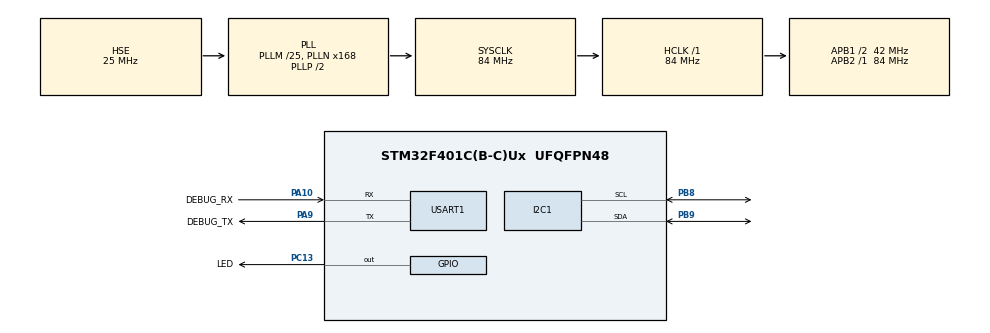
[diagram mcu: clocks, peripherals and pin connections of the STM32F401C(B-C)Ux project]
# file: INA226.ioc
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Mcu.Family=STM32F4
Mcu.Name=STM32F401C(B-C)Ux
Mcu.Package=UFQFPN48
NVIC.PriorityGroup=NVIC_PRIORITYGROUP_4
PA10.GPIO_Label=DEBUG_RX
PA10.Mode=Asynchronous
PA10.Signal=USART1_RX
PA13.Mode=Serial_Wire
PA13.Signal=SYS_JTMS-SWDIO
PA14.Mode=Serial_Wire
PA14.Signal=SYS_JTCK-SWCLK
PA9.GPIO_Label=DEBUG_TX
PA9.Mode=Asynchronous
PA9.Signal=USART1_TX
PB8.Mode=I2C
PB8.Signal=I2C1_SCL
PB9.Mode=I2C
PB9.Signal=I2C1_SDA
PC13-ANTI_TAMP.GPIO_Label=LED
PC13-ANTI_TAMP.Signal=GPIO_Output
PH0\ -\ OSC_IN.Mode=HSE-External-Oscillator
PH0\ -\ OSC_IN.Signal=RCC_OSC_IN
PH1\ -\ OSC_OUT.Mode=HSE-External-Oscillator
PH1\ -\ OSC_OUT.Signal=RCC_OSC_OUT
ProjectManager.HeapSize=0x200
ProjectManager.StackSize=0x400
ProjectManager.TargetToolchain=STM32CubeIDE
RCC.48MHZClocksFreq_Value=42000000
RCC.AHBFreq_Value=84000000
RCC.APB1CLKDivider=RCC_HCLK_DIV2
RCC.APB1Freq_Value=42000000
RCC.APB1TimFreq_Value=84000000
RCC.APB2Freq_Value=84000000
RCC.APB2TimFreq_Value=84000000
RCC.CortexFreq_Value=84000000
RCC.EnbaleCSS=true
RCC.HCLKFreq_Value=84000000
RCC.HSE_VALUE=25000000
RCC.HSI_VALUE=16000000
RCC.LSE_VALUE=32768
RCC.PLLM=25
RCC.PLLN=168
RCC.PLLSourceVirtual=RCC_PLLSOURCE_HSE
RCC.SYSCLKFreq_VALUE=84000000
RCC.SYSCLKSource=RCC_SYSCLKSOURCE_PLLCLK
RCC.VCOOutputFreq_Value=168000000
USART1.VirtualMode=VM_ASYNC
board=custom

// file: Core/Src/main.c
/* USER CODE BEGIN Header */
/**
  ******************************************************************************
  * @file           : main.c
  * @brief          : Main program body
  ******************************************************************************
  * @attention
  *
  * Copyright (c) 2025 STMicroelectronics.
  * All rights reserved.
  *
  * This software is licensed under terms that can be found in the LICENSE file
  * in the root directory of this software component.
  * If no LICENSE file comes with this software, it is provided AS-IS.
  *
  ******************************************************************************
  */
/* USER CODE END Header */
#include "main.h"

/* USER CODE BEGIN Includes */
//need for uart
#include <stdarg.h>
#include <string.h>
#include <stdio.h>

#include <stdbool.h>

/* USER CODE END Includes */

I2C_HandleTypeDef hi2c1;

UART_HandleTypeDef huart1;

/* USER CODE BEGIN PV */
// I²C address (7-bit) shifted for HAL
#ifndef INA226_I2C_ADDR
  #define INA226_I2C_ADDR      (0x40 << 1)
#endif
#define INA226_REG_CONF        0x00
#define INA226_REG_CALIB       0x05
#define INA226_REG_MASK_EN     0x06
#define INA226_REG_CURRENT     0x04
#define INA226_FLAG_CRDY       0x0400
#define INA226_SHUNT_OHM       0.00075f    // 0.75 mΩ
#define INA226_I_MAX           100.0f      // 100 A
#define INA226_CONF_DEFAULT    (0x0000 | 0x0100 | 0x0080 | 0x0007)
#define INA226_CURRENT_LSB     (INA226_I_MAX / 32768.0f)
#define INA226_CALIB_VALUE     ((uint16_t)(0.00512f / (INA226_CURRENT_LSB * INA226_SHUNT_OHM)))

#define UART1_BUFFER_SIZE 100
uint8_t uart1_rx_buffer[UART1_BUFFER_SIZE];
uint8_t uart1_rx_char;
uint16_t uart1_rx_index = 0;

/* USER CODE END PV */

void SystemClock_Config(void);
static void MX_GPIO_Init(void);
static void MX_I2C1_Init(void);
static void MX_USART1_UART_Init(void);
/* USER CODE BEGIN PFP */
void processUart1Command(char *command); // For USART1 commands
void debugFTDI(const char *fmt, ...);
bool INA226_Init(I2C_HandleTypeDef *hi2c);
bool INA226_ReadCurrent(I2C_HandleTypeDef *hi2c, float *outCurrent);
/* USER CODE END PFP */

/* USER CODE BEGIN 0 */
bool INA226_Init(I2C_HandleTypeDef *hi2c)
{
    uint8_t buf[3];

    // 1) Reset device (write 0x8000 to CONFIG)
    buf[0] = INA226_REG_CONF;
    buf[1] = 0x80;
    buf[2] = 0x00;
    if (HAL_I2C_Master_Transmit(hi2c, INA226_I2C_ADDR, buf, 3, HAL_MAX_DELAY) != HAL_OK)
        return false;
    HAL_Delay(1);

    // 2) Write default CONFIG (averaging, conversion times, continuous)
    buf[0] = INA226_REG_CONF;
    buf[1] = (uint8_t)(INA226_CONF_DEFAULT >> 8);
    buf[2] = (uint8_t)(INA226_CONF_DEFAULT & 0xFF);
    if (HAL_I2C_Master_Transmit(hi2c, INA226_I2C_ADDR, buf, 3, HAL_MAX_DELAY) != HAL_OK)
        return false;

    // 3) Write CALIBRATION register
    buf[0] = INA226_REG_CALIB;
    buf[1] = (uint8_t)(INA226_CALIB_VALUE >> 8);
    buf[2] = (uint8_t)(INA226_CALIB_VALUE & 0xFF);
    if (HAL_I2C_Master_Transmit(hi2c, INA226_I2C_ADDR, buf, 3, HAL_MAX_DELAY) != HAL_OK)
        return false;

    return true;
}

/**
 * @brief  Read current (in Amps) from INA226.
 * @param  hi2c        Your HAL I2C handle
 * @param  outCurrent  Pointer to float to receive the result
 * @return true on success, false on I²C error or timeout
 */
bool INA226_ReadCurrent(I2C_HandleTypeDef *hi2c, float *outCurrent)
{
    uint8_t buf[2];
    uint16_t raw;

    // wait >2 conversions (≈2.2 ms), use 3 ms
    HAL_Delay(3);

    // read CURRENT reg
    if (HAL_I2C_Mem_Read(hi2c, INA226_I2C_ADDR, INA226_REG_CURRENT,
                         I2C_MEMADD_SIZE_8BIT, buf, 2, HAL_MAX_DELAY) != HAL_OK) {
        debugFTDI("RD: I2C read error\r\n");
        return false;
    }
    raw = (buf[0] << 8) | buf[1];
    debugFTDI("RD: RAW_CURRENT = 0x%04X\r\n", raw);

    // convert to amps
    *outCurrent = (int16_t)raw * INA226_CURRENT_LSB;
    // print in mA as integer
    int32_t mA = (int32_t)(*outCurrent * 1000.0f);
    debugFTDI("RD: Current = %ld mA\r\n", mA);

    return true;
}
void debugFTDI(const char *fmt, ...) {
	char buf[450];
	va_list args;
	va_start(args, fmt);
	int len = vsnprintf(buf, sizeof(buf), fmt, args);
	va_end(args);

	if (len > 0) {
		// ensure we don’t overrun if vsnprintf truncated
		uint16_t txlen = (len < sizeof(buf)) ? len : (sizeof(buf) - 1);
		HAL_UART_Transmit(&huart1, (uint8_t*) buf, txlen, HAL_MAX_DELAY);
	}
}

/**
 * @brief Processes UART commands received on USART1.
 * @param command The command string to process.
 */
void processUart1Command(char *command) {
	debugFTDI("Received command: [%s]\r\n", command);
	// Remove any trailing \r or \n characters
	size_t len = strlen(command);
	while (len > 0 && (command[len - 1] == '\r' || command[len - 1] == '\n')) {
		command[--len] = '\0';
	}

	// Get the first token separated by "/"
	char *token = strtok(command, "/");
	while (token != NULL) {
		debugFTDI("Processing token: [%s]\r\n", token);
		// Find the colon separator position manually
		char *colonPos = strchr(token, ':');

		if (colonPos != NULL) {
			// Null-terminate the key part
			*colonPos = '\0';
			char *key = token;
			char *valueStr = colonPos + 1;  // Value starts after the colon

			// Debug key-value pair
			char debugPair[100];
			snprintf(debugPair, sizeof(debugPair), "Key: [%s], Value: [%s]\r\n",
					key, valueStr);
			HAL_UART_Transmit(&huart1, (uint8_t*) debugPair, strlen(debugPair),
			HAL_MAX_DELAY);

			if (strcmp(key, "WRITE_ENABLE_PWM") == 0) {
//				char msg[50];
//				snprintf(msg, sizeof(msg), "WRITE_ENABLE_PWM command: %s\r\n",
//						key);
//				HAL_UART_Transmit(&huart1, (uint8_t*) msg, strlen(msg),
//				HAL_MAX_DELAY);
//				enablePwmMain();
			}
			// Other command handlers follow the same pattern...
			else {
				// Unknown command
				char msg[50];
				snprintf(msg, sizeof(msg), "Unknown command: %s\r\n", key);
				HAL_UART_Transmit(&huart1, (uint8_t*) msg, strlen(msg),
				HAL_MAX_DELAY);
			}
		}

		// Get next token
		token = strtok(NULL, "/");
	}
}
/**
 * @brief UART Receive Complete Callback with improved buffering.
 * @param huart UART handle.
 */
void HAL_UART_RxCpltCallback(UART_HandleTypeDef *huart) {
	if (huart->Instance == USART1) {
		HAL_GPIO_TogglePin(LED_GPIO_Port, LED_Pin);

		// Check if the received character is a newline
		if (uart1_rx_char == '\n') {
			// Terminate the string properly
			if (uart1_rx_index > 0
					&& uart1_rx_buffer[uart1_rx_index - 1] == '\r') {
				uart1_rx_buffer[uart1_rx_index - 1] = '\0'; // Remove \r
			} else {
				uart1_rx_buffer[uart1_rx_index] = '\0'; // Just add null terminator
			}

			// Process the complete command
			processUart1Command((char*) uart1_rx_buffer);

			// Reset buffer index for next command
			uart1_rx_index = 0;
		}
		// Handle normal character storage (not newline or carriage return)
		else if (uart1_rx_char != '\r'
				&& uart1_rx_index < UART1_BUFFER_SIZE - 1) {
			uart1_rx_buffer[uart1_rx_index++] = uart1_rx_char;
		}

		// Always restart reception for next character
		HAL_UART_Receive_IT(&huart1, &uart1_rx_char, 1);
	}
}
/* USER CODE END 0 */

int main(void)
{

  /* MCU Configuration--------------------------------------------------------*/

  /* Reset of all peripherals, Initializes the Flash interface and the Systick. */
  HAL_Init();

  /* Configure the system clock */
  SystemClock_Config();

  /* Initialize all configured peripherals */
  MX_GPIO_Init();
  MX_I2C1_Init();
  MX_USART1_UART_Init();
  /* USER CODE BEGIN 2 */
  HAL_UART_Receive_IT(&huart1, &uart1_rx_char, 1);  // Start UART reception
  if (!INA226_Init(&hi2c1)) {
      debugFTDI("INA226 init FAILED!\r\n");
      while (1);
  }else{
      debugFTDI("INA226 OK!\r\n");
  }
  /* USER CODE END 2 */

  /* Infinite loop */
  /* USER CODE BEGIN WHILE */
  float current;

  while (1)
  {
	  HAL_GPIO_TogglePin(LED_GPIO_Port, LED_Pin);
	  float I;
	  if (INA226_ReadCurrent(&hi2c1, &I)) {
	      // already printed inside; or do:
	      debugFTDI("Main: I = %.3f A\r\n", I);
	  } else {
	      debugFTDI("Main: read error\r\n");
	  }
	  HAL_Delay(500);
    /* USER CODE END WHILE */

  }
}

void SystemClock_Config(void)
{
  RCC_OscInitTypeDef RCC_OscInitStruct = {0};
  RCC_ClkInitTypeDef RCC_ClkInitStruct = {0};

  /** Configure the main internal regulator output voltage
  */
  __HAL_RCC_PWR_CLK_ENABLE();
  __HAL_PWR_VOLTAGESCALING_CONFIG(PWR_REGULATOR_VOLTAGE_SCALE2);

  /** Initializes the RCC Oscillators according to the specified parameters
  * in the RCC_OscInitTypeDef structure.
  */
  RCC_OscInitStruct.OscillatorType = RCC_OSCILLATORTYPE_HSE;
  RCC_OscInitStruct.HSEState = RCC_HSE_ON;
  RCC_OscInitStruct.PLL.PLLState = RCC_PLL_ON;
  RCC_OscInitStruct.PLL.PLLSource = RCC_PLLSOURCE_HSE;
  RCC_OscInitStruct.PLL.PLLM = 25;
  RCC_OscInitStruct.PLL.PLLN = 168;
  RCC_OscInitStruct.PLL.PLLP = RCC_PLLP_DIV2;
  RCC_OscInitStruct.PLL.PLLQ = 4;
  if (HAL_RCC_OscConfig(&RCC_OscInitStruct) != HAL_OK)
  {
    Error_Handler();
  }

  /** Initializes the CPU, AHB and APB buses clocks
  */
  RCC_ClkInitStruct.ClockType = RCC_CLOCKTYPE_HCLK|RCC_CLOCKTYPE_SYSCLK
                              |RCC_CLOCKTYPE_PCLK1|RCC_CLOCKTYPE_PCLK2;
  RCC_ClkInitStruct.SYSCLKSource = RCC_SYSCLKSOURCE_PLLCLK;
  RCC_ClkInitStruct.AHBCLKDivider = RCC_SYSCLK_DIV1;
  RCC_ClkInitStruct.APB1CLKDivider = RCC_HCLK_DIV2;
  RCC_ClkInitStruct.APB2CLKDivider = RCC_HCLK_DIV1;

  if (HAL_RCC_ClockConfig(&RCC_ClkInitStruct, FLASH_LATENCY_2) != HAL_OK)
  {
    Error_Handler();
  }

  /** Enables the Clock Security System
  */
  HAL_RCC_EnableCSS();
}

static void MX_I2C1_Init(void)
{

  hi2c1.Instance = I2C1;
  hi2c1.Init.ClockSpeed = 100000;
  hi2c1.Init.DutyCycle = I2C_DUTYCYCLE_2;
  hi2c1.Init.OwnAddress1 = 0;
  hi2c1.Init.AddressingMode = I2C_ADDRESSINGMODE_7BIT;
  hi2c1.Init.DualAddressMode = I2C_DUALADDRESS_DISABLE;
  hi2c1.Init.OwnAddress2 = 0;
  hi2c1.Init.GeneralCallMode = I2C_GENERALCALL_DISABLE;
  hi2c1.Init.NoStretchMode = I2C_NOSTRETCH_DISABLE;
  if (HAL_I2C_Init(&hi2c1) != HAL_OK)
  {
    Error_Handler();
  }

}

static void MX_USART1_UART_Init(void)
{

  huart1.Instance = USART1;
  huart1.Init.BaudRate = 115200;
  huart1.Init.WordLength = UART_WORDLENGTH_8B;
  huart1.Init.StopBits = UART_STOPBITS_1;
  huart1.Init.Parity = UART_PARITY_NONE;
  huart1.Init.Mode = UART_MODE_TX_RX;
  huart1.Init.HwFlowCtl = UART_HWCONTROL_NONE;
  huart1.Init.OverSampling = UART_OVERSAMPLING_16;
  if (HAL_UART_Init(&huart1) != HAL_OK)
  {
    Error_Handler();
  }

}

static void MX_GPIO_Init(void)
{
  GPIO_InitTypeDef GPIO_InitStruct = {0};

  /* GPIO Ports Clock Enable */
  __HAL_RCC_GPIOC_CLK_ENABLE();
  __HAL_RCC_GPIOH_CLK_ENABLE();
  __HAL_RCC_GPIOA_CLK_ENABLE();
  __HAL_RCC_GPIOB_CLK_ENABLE();

  /*Configure GPIO pin Output Level */
  HAL_GPIO_WritePin(LED_GPIO_Port, LED_Pin, GPIO_PIN_RESET);

  /*Configure GPIO pin : LED_Pin */
  GPIO_InitStruct.Pin = LED_Pin;
  GPIO_InitStruct.Mode = GPIO_MODE_OUTPUT_PP;
  GPIO_InitStruct.Pull = GPIO_NOPULL;
  GPIO_InitStruct.Speed = GPIO_SPEED_FREQ_LOW;
  HAL_GPIO_Init(LED_GPIO_Port, &GPIO_InitStruct);

}

void Error_Handler(void)
{
  __disable_irq();
  while (1)
  {
  }
}
